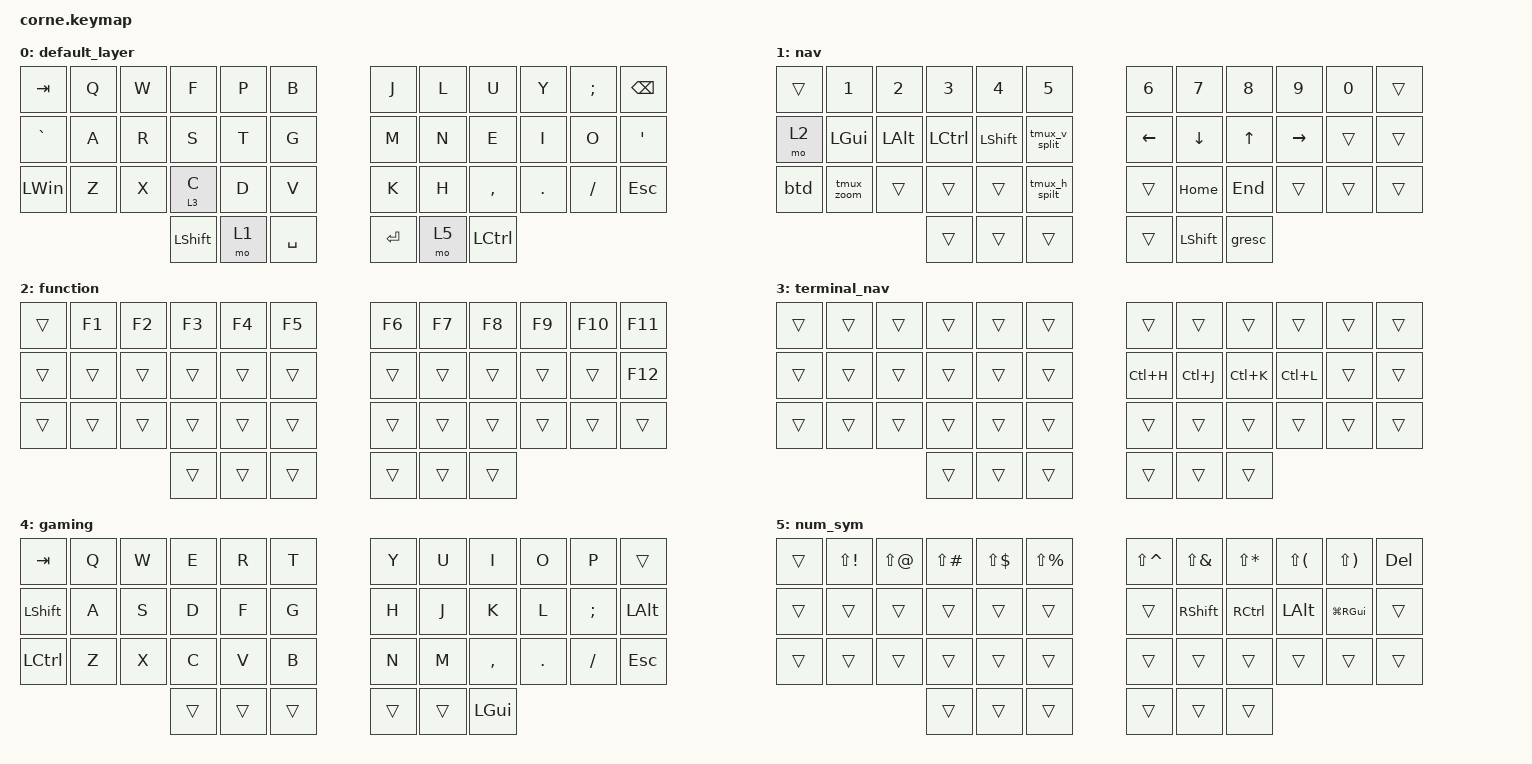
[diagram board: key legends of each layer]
/*
 * Copyright (c) 2020 The ZMK Contributors
 *
 * SPDX-License-Identifier: MIT
 */

#include <behaviors.dtsi>
#include <dt-bindings/zmk/bt.h>
#include <dt-bindings/zmk/keys.h>

/ {
    behaviors {
        hml: hm {
            compatible = "zmk,behavior-hold-tap";
            label = "Homerow mods left";
            bindings = <&kp>, <&kp>;

            #binding-cells = <2>;
            tapping-term-ms = <280>;
            quick-tap-ms = <175>;
            flavor = "balanced";
            require-prior-idle-ms = <150>;
            hold-trigger-on-release;
            hold-trigger-key-positions = <18 19 20 21 22 23 39 40 41 6 7 8 9 10 34 35 33 31 30 32 36 37 38>;
        };

        hmr: hmr {
            compatible = "zmk,behavior-hold-tap";
            label = "Homerow mods right";
            bindings = <&kp>, <&kp>;

            #binding-cells = <2>;
            tapping-term-ms = <280>;
            quick-tap-ms = <175>;
            flavor = "balanced";
            require-prior-idle-ms = <150>;
            hold-trigger-on-release;
            hold-trigger-key-positions = <24 12 0 25 26 3 2 14 1 13 15 27 17 5 4 28 16 29 36 37 38 39 40 41>;
        };

        btd: btd {
            compatible = "zmk,behavior-tap-dance";
            label = "Bluetooth tap dance";
            #binding-cells = <0>;
            bindings = <&bt BT_NXT>, <&bt BT_PRV>, <&none>, <&bt BT_CLR>;
        };

        gtm: gtm {
            compatible = "zmk,behavior-mod-morph";
            label = "Grave tilde modifier";
            bindings = <&kp GRAVE>, <&kp TILDE>;

            #binding-cells = <0>;
            mods = <(MOD_LSFT)>;
        };

        shift_caps: shift_caps {
            compatible = "zmk,behavior-tap-dance";
            label = "SHIFT_CAPS";
            #binding-cells = <0>;
            bindings = <&sk LEFT_SHIFT>, <&kp CAPSLOCK>;
        };

        backspace: backspace {
            compatible = "zmk,behavior-mod-morph";
            label = "BACKSPACE";
            bindings = <&kp BACKSPACE>, <&kp DEL>;

            #binding-cells = <0>;
            mods = <(MOD_LSFT)>;
        };

        htl_nav: htl {
            compatible = "zmk,behavior-hold-tap";
            label = "Hold tap layer";
            bindings = <&mo>, <&tap_dance_nav>;

            #binding-cells = <2>;
            flavor = "hold-preferred";
            tapping-term-ms = <180>;
        };

        terminal_nav: terminal_nav {
            compatible = "zmk,behavior-hold-tap";
            label = "TERMINAL_NAV";
            bindings = <&mo>, <&kp>;

            #binding-cells = <2>;
            tapping-term-ms = <280>;
            quick-tap-ms = <175>;
            flavor = "balanced";
            require-prior-idle-ms = <150>;
            hold-trigger-on-release;
            hold-trigger-key-positions = <18 19 21 20>;
        };

        tap_dance_nav: tap_dance_nav {
            compatible = "zmk,behavior-tap-dance";
            label = "TAP_DANCE_NAV";
            #binding-cells = <0>;
            bindings = <&sl 1>, <&tog 1>;

            tapping-term-ms = <150>;
        };

        htl_num: htl_num {
            compatible = "zmk,behavior-hold-tap";
            label = "HTL_NUM";
            bindings = <&mo>, <&sl>;

            #binding-cells = <2>;
            flavor = "balanced";
            tapping-term-ms = <200>;
        };

        tap_dance_num: tap_dance_num {
            compatible = "zmk,behavior-tap-dance";
            label = "TAP_DANCE_NUM";
            #binding-cells = <0>;
            bindings = <&htl_nav 1 3>, <&tog 1>;
        };

        hml_alt: hml_alt {
            compatible = "zmk,behavior-hold-tap";
            label = "HML_ALT";
            bindings = <&kp>, <&kp>;

            #binding-cells = <2>;
            tapping-term-ms = <175>;
            quick-tap-ms = <110>;
            flavor = "balanced";
            require-prior-idle-ms = <150>;
            hold-trigger-on-release;
            hold-trigger-key-positions = <18 19 20 21 22 23 39 40 41 6 7 8 9 10 34 35 33 31 30 32 36 37 38>;
        };

        turbo_home_row_l: turbo_home_row_l {
            compatible = "zmk,behavior-hold-tap";
            label = "TURBO_HOME_ROW_L";
            bindings = <&kp>, <&kp>;

            #binding-cells = <2>;
            tapping-term-ms = <100>;
            quick-tap-ms = <50>;
            flavor = "balanced";
            require-prior-idle-ms = <50>;
            hold-trigger-on-release;
            hold-trigger-key-positions = <18 19 20 21 22 23 39 40 41 6 7 8 9 10 34 35 33 31 30 32 36 37 38>;
        };

        turbo_home_row_r: turbo_home_row_r {
            compatible = "zmk,behavior-hold-tap";
            label = "TURBO_HOME_ROW_R";
            bindings = <&kp>, <&kp>;

            #binding-cells = <2>;
            tapping-term-ms = <100>;
            quick-tap-ms = <50>;
            flavor = "balanced";
            require-prior-idle-ms = <45>;
            hold-trigger-on-release;
            hold-trigger-key-positions = <24 12 0 25 26 3 2 14 1 13 15 27 17 5 4 28 16 29 36 37 38 39 40 41>;
        };
    };

    combos {
        compatible = "zmk,combos";

        gaming_combo {
            bindings = <&tog 4>;
            key-positions = <0 11>;
            require-prior-idle-ms = <150>;
        };

        underscore {
            bindings = <&kp UNDERSCORE>;
            key-positions = <16 19>;
            require-prior-idle-ms = <150>;
            layers = <0 2>;
        };

        minus {
            bindings = <&kp MINUS>;
            key-positions = <4 7>;
            require-prior-idle-ms = <150>;
        };

        equals {
            bindings = <&kp EQUAL>;
            key-positions = <28 31>;
            require-prior-idle-ms = <150>;
            layers = <0>;
        };

        l_parenthesis {
            bindings = <&kp LEFT_PARENTHESIS>;
            key-positions = <15 20>;
            require-prior-idle-ms = <150>;
        };

        l_bracket {
            bindings = <&kp LEFT_BRACKET>;
            key-positions = <14 21>;
            require-prior-idle-ms = <150>;
        };

        l_brace {
            bindings = <&kp LEFT_BRACE>;
            key-positions = <13 22>;
            require-prior-idle-ms = <150>;
        };

        r_parenthesis {
            bindings = <&kp RIGHT_PARENTHESIS>;
            key-positions = <27 32>;
            require-prior-idle-ms = <150>;
        };

        r_bracket {
            bindings = <&kp RIGHT_BRACKET>;
            key-positions = <26 33>;
            require-prior-idle-ms = <150>;
        };

        r_brace {
            bindings = <&kp RIGHT_BRACE>;
            key-positions = <34 25>;
            require-prior-idle-ms = <150>;
        };

        plus {
            bindings = <&kp PLUS>;
            key-positions = <5 6>;
            require-prior-idle-ms = <150>;
        };

        pipe {
            bindings = <&kp PIPE>;
            key-positions = <3 8>;
            require-prior-idle-ms = <150>;
        };

        backslash {
            bindings = <&kp BACKSLASH>;
            key-positions = <2 9>;
            require-prior-idle-ms = <150>;
        };

        colon {
            bindings = <&kp COLON>;
            key-positions = <31 32>;
            require-prior-idle-ms = <150>;
        };

        l_brace_nav {
            bindings = <&kp LEFT_BRACE>;
            key-positions = <16 19>;
            require-prior-idle-ms = <150>;
            layers = <1>;
        };

        r-brace-nav {
            bindings = <&kp RIGHT_BRACE>;
            key-positions = <28 31>;
            require-prior-idle-ms = <150>;
            layers = <1>;
        };
    };

    macros {
        tmux_v_split: tmux_v_split {
            compatible = "zmk,behavior-macro";
            #binding-cells = <0>;
            bindings = <&kp LC(A) &kp BACKSLASH>;
            label = "TMUX_V_SPLIT";
        };

        tmux_h_spilt: tmux_h_spilt {
            compatible = "zmk,behavior-macro";
            #binding-cells = <0>;
            bindings = <&kp LC(A) &kp MINUS>;
            label = "TMUX_H_SPILT";
        };

        tmux_zoom: tmux_zoom {
            compatible = "zmk,behavior-macro";
            #binding-cells = <0>;
            bindings = <&kp LC(A) &kp Z>;
            label = "TMUX_ZOOM";
        };
    };

    keymap {
        compatible = "zmk,keymap";

        default_layer {
            // -----------------------------------------------------------------------------------------
            // |  TAB |  Q  |  W  |  E  |  R  |  T  |   |  Y  |  U   |  I  |  O  |  P  | BKSP |
            // | CTRL |  A  |  S  |  D  |  F  |  G  |   |  H  |  J   |  K  |  L  |  ;  |  '   |
            // | SHFT |  Z  |  X  |  C  |  V  |  B  |   |  N  |  M   |  ,  |  .  |  /  | ESC  |
            //                    | GUI | LWR | SPC |   | ENT | RSE  | ALT |

            bindings = <
&kp TAB    &kp Q  &kp W  &kp F              &kp P  &kp B        &kp J    &kp L  &kp U      &kp Y    &kp SEMICOLON  &kp BACKSPACE
&kp GRAVE  &kp A  &kp R  &kp S              &kp T  &kp G        &kp M    &kp N  &kp E      &kp I    &kp O          &kp SQT
&kp LWIN   &kp Z  &kp X  &terminal_nav 3 C  &kp D  &kp V        &kp K    &kp H  &kp COMMA  &kp DOT  &kp FSLH       &kp ESC
                         &kp LEFT_SHIFT     &mo 1  &kp SPACE    &kp RET  &mo 5  &kp LCTRL
            >;
        };

        nav {
            bindings = <
&trans  &kp N1      &kp N2    &kp N3     &kp N4     &kp N5           &kp N6          &kp N7          &kp N8        &kp N9     &kp N0  &trans
&mo 2   &kp LGUI    &kp LALT  &kp LCTRL  &kp LSHFT  &tmux_v_split    &kp LEFT_ARROW  &kp DOWN_ARROW  &kp UP_ARROW  &kp RIGHT  &trans  &trans
&btd    &tmux_zoom  &trans    &trans     &trans     &tmux_h_spilt    &trans          &kp HOME        &kp END       &trans     &trans  &trans
                              &trans     &trans     &trans           &trans          &kp LSHIFT      &gresc
            >;
        };

        function {
            bindings = <
&trans  &kp F1  &kp F2  &kp F3  &kp F4  &kp F5    &kp F6  &kp F7  &kp F8  &kp F9  &kp F10  &kp F11
&trans  &trans  &trans  &trans  &trans  &trans    &trans  &trans  &trans  &trans  &trans   &kp F12
&trans  &trans  &trans  &trans  &trans  &trans    &trans  &trans  &trans  &trans  &trans   &trans
                        &trans  &trans  &trans    &trans  &trans  &trans
            >;
        };

        terminal_nav {
            bindings = <
&trans  &trans  &trans  &trans  &trans  &trans    &trans     &trans     &trans     &trans     &trans  &trans
&trans  &trans  &trans  &trans  &trans  &trans    &kp LC(H)  &kp LC(J)  &kp LC(K)  &kp LC(L)  &trans  &trans
&trans  &trans  &trans  &trans  &trans  &trans    &trans     &trans     &trans     &trans     &trans  &trans
                        &trans  &trans  &trans    &trans     &trans     &trans
            >;
        };

        gaming {
            bindings = <
&kp TAB    &kp Q  &kp W  &kp E   &kp R   &kp T     &kp Y   &kp U   &kp I      &kp O    &kp P     &trans
&kp LSHFT  &kp A  &kp S  &kp D   &kp F   &kp G     &kp H   &kp J   &kp K      &kp L    &kp SEMI  &kp LALT
&kp LCTRL  &kp Z  &kp X  &kp C   &kp V   &kp B     &kp N   &kp M   &kp COMMA  &kp DOT  &kp FSLH  &kp ESC
                         &trans  &trans  &trans    &trans  &trans  &kp LGUI
            >;
        };

        num_sym {
            bindings = <
&trans  &kp LS(EXCL)  &kp LS(AT)  &kp LS(POUND)  &kp LS(DLLR)  &kp LS(PRCNT)    &kp LS(CARET)  &kp LS(AMPS)  &kp LS(STAR)  &kp LS(LPAR)  &kp LS(RPAR)  &kp DELETE
&trans  &trans        &trans      &trans         &trans        &trans           &trans         &kp RSHFT     &kp RCTRL     &kp LALT      &kp LG(RGUI)  &trans
&trans  &trans        &trans      &trans         &trans        &trans           &trans         &trans        &trans        &trans        &trans        &trans
                                  &trans         &trans        &trans           &trans         &trans        &trans
            >;
        };
    };
};
